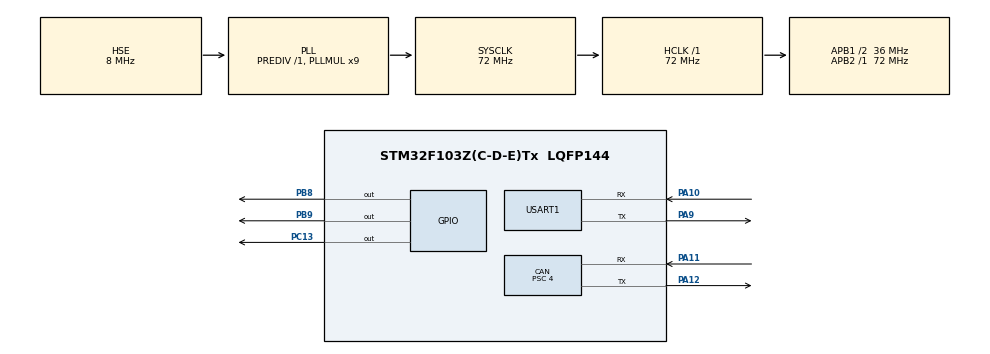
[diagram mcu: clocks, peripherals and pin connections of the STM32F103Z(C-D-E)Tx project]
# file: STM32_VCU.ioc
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CAN.BS1=CAN_BS1_15TQ
CAN.BS2=CAN_BS2_2TQ
CAN.CalculateBaudRate=500000
CAN.CalculateTimeBit=2000
CAN.CalculateTimeQuantum=111.11111111111111
CAN.Mode=CAN_MODE_NORMAL
CAN.Prescaler=4
FREERTOS.Queues01=MsgQueue,32,16,1,Dynamic,NULL,NULL
FREERTOS.Tasks01=defaultTask,24,128,StartDefaultTask,Default,NULL,Dynamic,NULL,NULL;Task_Monitor,24,256,StartTask_Monitor,Default,NULL,Dynamic,NULL,NULL;Task_RecvMsg,24,256,StartTask_RecvMsg,Default,NULL,Dynamic,NULL,NULL;Task_BMS_Proces,40,256,StartTask_BMS_Process,Default,NULL,Dynamic,NULL,NULL;Task_Resp,24,256,StartTask_Resp,Default,NULL,Dynamic,NULL,NULL
FREERTOS.configTOTAL_HEAP_SIZE=10240
Mcu.Family=STM32F1
Mcu.Name=STM32F103Z(C-D-E)Tx
Mcu.Package=LQFP144
NVIC.PriorityGroup=NVIC_PRIORITYGROUP_4
NVIC.TIM1_UP_IRQn=true\:15\:0\:false\:false\:true\:false\:false\:true\:true
NVIC.TimeBase=TIM1_UP_IRQn
NVIC.TimeBaseIP=TIM1
NVIC.USART1_IRQn=true\:5\:0\:false\:false\:true\:true\:true\:true\:true
NVIC.USB_LP_CAN1_RX0_IRQn=true\:5\:0\:false\:false\:true\:true\:true\:true\:true
OSC_IN.Mode=HSE-External-Oscillator
OSC_IN.Signal=RCC_OSC_IN
OSC_OUT.Mode=HSE-External-Oscillator
OSC_OUT.Signal=RCC_OSC_OUT
PA10.Mode=Asynchronous
PA10.Signal=USART1_RX
PA11.Mode=CAN_Activate
PA11.Signal=CAN_RX
PA12.Mode=CAN_Activate
PA12.Signal=CAN_TX
PA13.Mode=Serial_Wire
PA13.Signal=SYS_JTMS-SWDIO
PA14.Mode=Serial_Wire
PA14.Signal=SYS_JTCK-SWCLK
PA9.Mode=Asynchronous
PA9.Signal=USART1_TX
PB8.Signal=GPIO_Output
PB9.Signal=GPIO_Output
PC13-TAMPER-RTC.Signal=GPIO_Output
ProjectManager.HeapSize=0x200
ProjectManager.StackSize=0x400
ProjectManager.TargetToolchain=MDK-ARM V5
RCC.AHBFreq_Value=72000000
RCC.APB1CLKDivider=RCC_HCLK_DIV2
RCC.APB1Freq_Value=36000000
RCC.APB1TimFreq_Value=72000000
RCC.APB2Freq_Value=72000000
RCC.APB2TimFreq_Value=72000000
RCC.HCLKFreq_Value=72000000
RCC.PLLMUL=RCC_PLL_MUL9
RCC.PLLSourceVirtual=RCC_PLLSOURCE_HSE
RCC.SYSCLKFreq_VALUE=72000000
RCC.SYSCLKSource=RCC_SYSCLKSOURCE_PLLCLK
RCC.USBFreq_Value=72000000
USART1.VirtualMode=VM_ASYNC
VP_FREERTOS_VS_CMSIS_V2.Mode=CMSIS_V2
VP_SYS_VS_tim1.Mode=TIM1
board=custom

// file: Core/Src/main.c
/* USER CODE BEGIN Header */
/**
  ******************************************************************************
  * @file           : main.c
  * @brief          : Main program body
  ******************************************************************************
  * @attention
  *
  * Copyright (c) 2026 STMicroelectronics.
  * All rights reserved.
  *
  * This software is licensed under terms that can be found in the LICENSE file
  * in the root directory of this software component.
  * If no LICENSE file comes with this software, it is provided AS-IS.
  *
  ******************************************************************************
  */
/* USER CODE END Header */
#include "main.h"
#include "cmsis_os.h"
#include "can.h"
#include "usart.h"
#include "gpio.h"

/* USER CODE BEGIN Includes */
#include <stdio.h>
#include "OLED.h"
/* USER CODE END Includes */

void SystemClock_Config(void);
void MX_FREERTOS_Init(void);
/* USER CODE BEGIN PFP */

int fputc(int ch, FILE *f)
{
    HAL_UART_Transmit(&huart1, (uint8_t *)&ch, 1, HAL_MAX_DELAY);
    return ch;
}
/* USER CODE END PFP */

int main(void)
{

  /* MCU Configuration--------------------------------------------------------*/

  /* Reset of all peripherals, Initializes the Flash interface and the Systick. */
  HAL_Init();

  /* Configure the system clock */
  SystemClock_Config();

  /* Initialize all configured peripherals */
  MX_GPIO_Init();
  MX_USART1_UART_Init();
  MX_CAN_Init();
  /* USER CODE BEGIN 2 */
  OLED_Init();
  OLED_Clear();
  OLED_ShowString(1, 1, "VCU BMS");
  OLED_ShowString(2, 1, "Ready");
  printf("System starting...\r\n");
  /* USER CODE END 2 */

  /* Init scheduler */
  osKernelInitialize();  /* Call init function for freertos objects (in cmsis_os2.c) */
  MX_FREERTOS_Init();

  /* Start scheduler */
  osKernelStart();

  /* We should never get here as control is now taken by the scheduler */

  /* Infinite loop */
  while (1)
  {

  }
}

void SystemClock_Config(void)
{
  RCC_OscInitTypeDef RCC_OscInitStruct = {0};
  RCC_ClkInitTypeDef RCC_ClkInitStruct = {0};

  /** Initializes the RCC Oscillators according to the specified parameters
  * in the RCC_OscInitTypeDef structure.
  */
  RCC_OscInitStruct.OscillatorType = RCC_OSCILLATORTYPE_HSE;
  RCC_OscInitStruct.HSEState = RCC_HSE_ON;
  RCC_OscInitStruct.HSEPredivValue = RCC_HSE_PREDIV_DIV1;
  RCC_OscInitStruct.HSIState = RCC_HSI_ON;
  RCC_OscInitStruct.PLL.PLLState = RCC_PLL_ON;
  RCC_OscInitStruct.PLL.PLLSource = RCC_PLLSOURCE_HSE;
  RCC_OscInitStruct.PLL.PLLMUL = RCC_PLL_MUL9;
  if (HAL_RCC_OscConfig(&RCC_OscInitStruct) != HAL_OK)
  {
    Error_Handler();
  }

  /** Initializes the CPU, AHB and APB buses clocks
  */
  RCC_ClkInitStruct.ClockType = RCC_CLOCKTYPE_HCLK|RCC_CLOCKTYPE_SYSCLK
                              |RCC_CLOCKTYPE_PCLK1|RCC_CLOCKTYPE_PCLK2;
  RCC_ClkInitStruct.SYSCLKSource = RCC_SYSCLKSOURCE_PLLCLK;
  RCC_ClkInitStruct.AHBCLKDivider = RCC_SYSCLK_DIV1;
  RCC_ClkInitStruct.APB1CLKDivider = RCC_HCLK_DIV2;
  RCC_ClkInitStruct.APB2CLKDivider = RCC_HCLK_DIV1;

  if (HAL_RCC_ClockConfig(&RCC_ClkInitStruct, FLASH_LATENCY_2) != HAL_OK)
  {
    Error_Handler();
  }
}

void HAL_TIM_PeriodElapsedCallback(TIM_HandleTypeDef *htim)
{
  if (htim->Instance == TIM1)
  {
    HAL_IncTick();
  }
}

void Error_Handler(void)
{
  __disable_irq();
  while (1)
  {
  }
}

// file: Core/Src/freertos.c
/* USER CODE BEGIN Header */
/**
---
- File Name          : freertos.c
- Description        : Code for freertos applications
---
  */
/* USER CODE END Header */

#include "FreeRTOS.h"
#include "task.h"
#include "main.h"
#include "cmsis_os.h"

/* USER CODE BEGIN Includes */
#include "oled.h"
#include <string.h>
#include <stdint.h>
#include <stdio.h>
#include "bms_config.h"
#include "bms_app.h"
#include "usart.h"
#include "can.h"
#include "can_driver.h"
#include "uds.h"
/* USER CODE END Includes */

/* USER CODE BEGIN Variables */
// BmsData_t 已经在 bms_app.h 中定义，此处不再重复
BmsData_t g_bms_data = {0};
osMutexId_t g_bms_mutex;
#if ENABLE_SIM_BMS_TASK
osThreadId_t Task_BMS_SimulateHandle;
const osThreadAttr_t Task_BMS_Simulate_attributes = {
  .name = "Task_BMS_Simulate",
  .stack_size = 256 * 4,
  .priority = (osPriority_t) osPriorityNormal,
};
#endif

// 串口中断环形缓冲（阶段1?3历史备份，保留不删除）
#define UART_RING_BUF_SIZE 256
static uint8_t uart_ring_buf[UART_RING_BUF_SIZE];
static volatile uint16_t wr_idx = 0;
static volatile uint16_t rd_idx = 0;
static uint8_t parse_buf[15];
static uint8_t it_rx_ch;  // 中断接收静态缓存，禁止局部变量

/* USER CODE END Variables */
/* Definitions for defaultTask */
osThreadId_t defaultTaskHandle;
const osThreadAttr_t defaultTask_attributes = {
  .name = "defaultTask",
  .stack_size = 128 * 4,
  .priority = (osPriority_t) osPriorityNormal,
};
/* Definitions for Task_Monitor */
osThreadId_t Task_MonitorHandle;
const osThreadAttr_t Task_Monitor_attributes = {
  .name = "Task_Monitor",
  .stack_size = 256 * 4,
  .priority = (osPriority_t) osPriorityNormal,
};
/* Definitions for Task_RecvMsg */
osThreadId_t Task_RecvMsgHandle;
const osThreadAttr_t Task_RecvMsg_attributes = {
  .name = "Task_RecvMsg",
  .stack_size = 256 * 4,
  .priority = (osPriority_t) osPriorityNormal,
};
/* Definitions for Task_BMS_Proces */
osThreadId_t Task_BMS_ProcesHandle;
const osThreadAttr_t Task_BMS_Proces_attributes = {
  .name = "Task_BMS_Proces",
  .stack_size = 256 * 4,
  .priority = (osPriority_t) osPriorityHigh,
};
/* Definitions for Task_Resp */
osThreadId_t Task_RespHandle;
const osThreadAttr_t Task_Resp_attributes = {
  .name = "Task_Resp",
  .stack_size = 256 * 4,
  .priority = (osPriority_t) osPriorityNormal,
};
/* Definitions for MsgQueue */
osMessageQueueId_t MsgQueueHandle;
const osMessageQueueAttr_t MsgQueue_attributes = {
  .name = "MsgQueue"
};

/* USER CODE BEGIN FunctionPrototypes */
#if ENABLE_SIM_BMS_TASK
void StartTask_BMS_Simulate(void *argument);
#endif
/* USER CODE END FunctionPrototypes */

void StartDefaultTask(void *argument);
void StartTask_Monitor(void *argument);
void StartTask_RecvMsg(void *argument);
void StartTask_BMS_Process(void *argument);
void StartTask_Resp(void *argument);

void MX_FREERTOS_Init(void); /* (MISRA C 2004 rule 8.1) */

void MX_FREERTOS_Init(void) {
  /* USER CODE BEGIN Init */
    g_bms_mutex = osMutexNew(NULL);
    UDS_Init();    /* 【新增】UDS诊断初始化，默认会话 */
  /* USER CODE END Init */

  /* Create the queue(s) */
  /* creation of MsgQueue */
  MsgQueueHandle = osMessageQueueNew (32, 16, &MsgQueue_attributes);

  /* Create the thread(s) */
  /* creation of defaultTask */
  defaultTaskHandle = osThreadNew(StartDefaultTask, NULL, &defaultTask_attributes);

  /* creation of Task_Monitor */
  Task_MonitorHandle = osThreadNew(StartTask_Monitor, NULL, &Task_Monitor_attributes);

  /* creation of Task_RecvMsg */
  Task_RecvMsgHandle = osThreadNew(StartTask_RecvMsg, NULL, &Task_RecvMsg_attributes);

  /* creation of Task_BMS_Proces */
  Task_BMS_ProcesHandle = osThreadNew(StartTask_BMS_Process, NULL, &Task_BMS_Proces_attributes);

  /* creation of Task_Resp */
  Task_RespHandle = osThreadNew(StartTask_Resp, NULL, &Task_Resp_attributes);

  /* USER CODE BEGIN RTOS_THREADS */
#if ENABLE_SIM_BMS_TASK
  Task_BMS_SimulateHandle = osThreadNew(StartTask_BMS_Simulate, NULL, &Task_BMS_Simulate_attributes);
#endif
  /* USER CODE END RTOS_THREADS */

  /* USER CODE BEGIN RTOS_EVENTS */
  /* add events, ... */
  HAL_UART_Receive_IT(&huart1, &it_rx_ch, 1);
  /* USER CODE END RTOS_EVENTS */

}

void StartDefaultTask(void *argument)
{
  /* USER CODE BEGIN StartDefaultTask */
  /* 测试注入代码已删除，此任务保留为空任务 */
  for(;;)
  {
    osDelay(1000);
  }
  /* USER CODE END StartDefaultTask */
}

void StartTask_Monitor(void *argument)
{
  /* USER CODE BEGIN StartTask_Monitor */
  can_driver_init(); //CAN驱动初始化
  char line[20];
  uint32_t now;
  static uint8_t display_cnt = 0;
  static uint32_t stat_tick = 0;
  for(;;) {
    HAL_GPIO_TogglePin(GPIOC, GPIO_PIN_13);
can_check_and_recover_busoff();   // 【新增】Bus-Off检测与自动恢复，每500ms检查一次
    stat_tick ++;
    if(stat_tick >=4)
    {
        stat_tick =0;
        printf("CAN stat: rx_total:%u drop:%u\r\n", can_rx_total, can_drop_count);
    }

    BmsData_t data;
    osMutexAcquire(g_bms_mutex, osWaitForever);
    data = g_bms_data;
    osMutexRelease(g_bms_mutex);
    now = osKernelGetTickCount();
    UDS_TickSessionTimeout(now);   /* 【新增】UDS会话超时检测 */
    if (data.last_msg_tick != 0 && (now - data.last_msg_tick) > BMS_TIMEOUT_MS) {
      osMutexAcquire(g_bms_mutex, osWaitForever);
      g_bms_data.fault_flag = 0x10;
      osMutexRelease(g_bms_mutex);
      data.fault_flag = 0x10;
    }
    if (++display_cnt >= 2) {
      display_cnt = 0;
      uint8_t current_fault;
      osMutexAcquire(g_bms_mutex, osWaitForever);
      current_fault = g_bms_data.fault_flag;
      osMutexRelease(g_bms_mutex);
      data.fault_flag = current_fault;
      BMS_DisplayData(&data, line);
    }
    osDelay(500);
  }
  /* USER CODE END StartTask_Monitor */
}

void StartTask_RecvMsg(void *argument)
{
  /* USER CODE BEGIN StartTask_RecvMsg */
  uint8_t parse_idx = 0;
  CanMsgTypeDef msg;
  osStatus_t status;
  for(;;)
  {
    // 使用临界区保护读取 wr_idx 和更新 rd_idx，避免中断干扰
    uint16_t local_wr, local_rd;
    taskENTER_CRITICAL();
    local_wr = wr_idx;
    local_rd = rd_idx;
    taskEXIT_CRITICAL();
    while( local_wr != local_rd )
    {
      uint8_t ch = uart_ring_buf[local_rd];
      local_rd = (local_rd + 1) % UART_RING_BUF_SIZE;
      if(parse_idx == 0)
      {
        if(ch == 0xAA) parse_idx = 1;
      }
      else if(parse_idx == 1)
      {
        if(ch == 0x55) parse_idx = 2;
        else parse_idx = 0;
      }
      else
      {
        parse_buf[parse_idx++] = ch;
        if(parse_idx >= 15)
        {
          memcpy(&msg.id, &parse_buf[2], 4);
          msg.len = parse_buf[6];
          memcpy(msg.data, &parse_buf[7], 8);
          status = osMessageQueuePut(MsgQueueHandle, &msg, 0, 5U);
          if(status != osOK) printf("[RecvMsg] queue full drop frame\r\n");
          parse_idx = 0;
        }
        if(parse_idx > 15) parse_idx = 0;
      }
    }
    // 将更新后的 rd_idx 写回（临界区保护）
    taskENTER_CRITICAL();
    rd_idx = local_rd;
    taskEXIT_CRITICAL();
    osDelay(2);
  }
  /* USER CODE END StartTask_RecvMsg */
}

void StartTask_BMS_Process(void *argument)
{
  /* USER CODE BEGIN StartTask_BMS_Process */
  CanMsgTypeDef msg;
  for(;;) {
    if (osMessageQueueGet(MsgQueueHandle, &msg, NULL, osWaitForever) == osOK) {

      /* ===== 【新增】CAN ID判断分发 ===== */
      if (msg.id == UDS_REQ_ID)   /* 0x7E0 UDS诊断请求 */
      {
          #if UDS_DEBUG_PRINT
        printf("[UDS] got req: %02X %02X %02X %02X %02X %02X %02X %02X\r\n",
               msg.data[0], msg.data[1], msg.data[2], msg.data[3],
               msg.data[4], msg.data[5], msg.data[6], msg.data[7]);
          #endif
        uint8_t res_data[8];
        uint8_t res_len = UDS_ProcessRequest(msg.data, msg.len, res_data);
          #if UDS_DEBUG_PRINT
        printf("[UDS] res_len=%d, res: %02X %02X %02X %02X %02X %02X %02X %02X\r\n",
               res_len, res_data[0], res_data[1], res_data[2], res_data[3],
               res_data[4], res_data[5], res_data[6], res_data[7]);
          #endif
        if (res_len > 0U)
        {
          CanMsgTypeDef res_msg;
          res_msg.id = UDS_RES_ID;
          res_msg.len = res_len;
          memcpy(res_msg.data, res_data, 8U);
          int send_ret = can_send(&res_msg);
            #if UDS_DEBUG_PRINT
          printf("[UDS] can_send ret=%d\r\n", send_ret);
            #endif
        }
      }
      else   /* 0x18000501 BMS数据帧，走原逻辑 */
      {
        BmsData_t new_data;
        new_data.voltage  = (uint16_t)(msg.data[0] | (msg.data[1] << 8));
        new_data.current  = (int16_t)(msg.data[2] | (msg.data[3] << 8));
        new_data.temperature = (int8_t)msg.data[4];
        new_data.last_msg_tick = osKernelGetTickCount();
        osMutexAcquire(g_bms_mutex, osWaitForever);
        g_bms_data.voltage = new_data.voltage;
        g_bms_data.current = new_data.current;
        g_bms_data.temperature = new_data.temperature;
        g_bms_data.last_msg_tick = new_data.last_msg_tick;
        g_bms_data.fault_flag &= ~0x10;
        BMS_UpdateFault(&g_bms_data);
        osMutexRelease(g_bms_mutex);
      }

    }
  }
  /* USER CODE END StartTask_BMS_Process */
}

void StartTask_Resp(void *argument)
{
  /* USER CODE BEGIN StartTask_Resp */
  for(;;) {
    osMutexAcquire(g_bms_mutex, osWaitForever);
    uint16_t volt = g_bms_data.voltage;
    int16_t curr = g_bms_data.current;
    int8_t temp = g_bms_data.temperature;
    uint8_t fault = g_bms_data.fault_flag;
    osMutexRelease(g_bms_mutex);
    // 根据超时故障位决定打印有效数据还是 "------"
    if (fault & 0x10) {
      printf("V=------ I=------ T=------ Fault=0x%02X\r\n", fault);
    } else {
      printf("V=%u.%uV I=%d.%dA T=%dC Fault=0x%02X\r\n",
             volt/10, volt%10, curr/10, curr%10, temp, fault);
    }
    if (fault & 0x01) printf("  Over Voltage!!\r\n");
    if (fault & 0x02) printf("  Under Voltage!!\r\n");
    if (fault & 0x04) printf("  Over Temperature!!\r\n");
    if (fault & 0x08) printf("  Over Current!!\r\n");
    if (fault & 0x10) printf("  COMM TIMEOUT!!\r\n");
    osDelay(1000);
  }
  /* USER CODE END StartTask_Resp */
}

/* USER CODE BEGIN Application */
#if ENABLE_SIM_BMS_TASK
void StartTask_BMS_Simulate(void *argument)
{
    for(;;)
    {
        CanMsgTypeDef sim_msg;
        sim_msg.id = 0x18000501U;
        sim_msg.len = 8;
        sim_msg.data[0] = 0x00;
        sim_msg.data[1] = 0x0C;
        sim_msg.data[2] = 0xF4;
        sim_msg.data[3] = 0x01;
        sim_msg.data[4] = 25;
        sim_msg.data[5] = 0;
        sim_msg.data[6] = 0;
        sim_msg.data[7] = 0;
        can_send(&sim_msg);
        printf("[Sim?BMS] send CAN id:0x%08X\r\n", sim_msg.id);
        osDelay(100);
    }
}
#endif
void HAL_UART_RxCpltCallback(UART_HandleTypeDef *huart)
{
  if(huart->Instance == USART1)
  {
    uart_ring_buf[wr_idx] = it_rx_ch;
    wr_idx = (wr_idx + 1) % UART_RING_BUF_SIZE;
    HAL_UART_Receive_IT(&huart1, &it_rx_ch, 1);
  }
}
/* USER CODE END Application */
